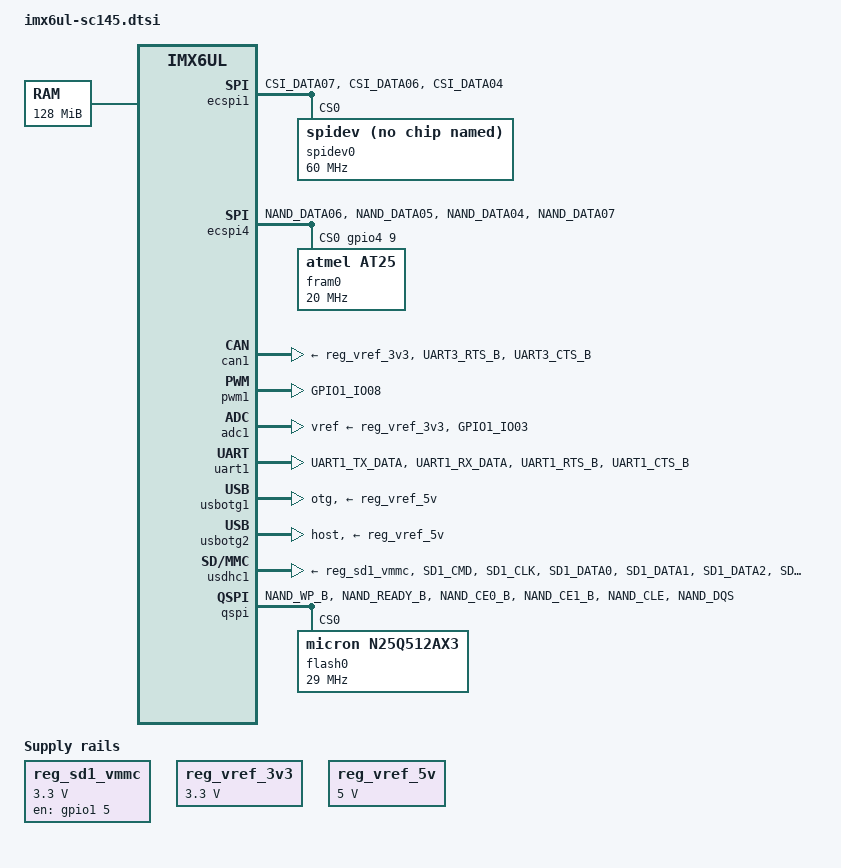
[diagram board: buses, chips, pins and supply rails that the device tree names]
/*
 * Copyright (C) 2015 Freescale Semiconductor, Inc.
 * Copyright (C) 2016 Beck IPC GmbH
 * Copyright (C) 2017 Kernel Concepts GmbH
 *
 * This program is free software; you can redistribute it and/or modify
 * it under the terms of the GNU General Public License version 2 as
 * published by the Free Software Foundation.
 */

#include <dt-bindings/gpio/gpio.h>
#include <dt-bindings/interrupt-controller/irq.h>
#include <dt-bindings/pwm/pwm.h>

/ {
    memory {
        reg = <0x80000000 0x8000000>;
    };

    regulators {
        compatible = "simple-bus";
        #address-cells = <1>;
        #size-cells = <0>;

        reg_sd1_vmmc: regulator@1 {
            compatible = "regulator-fixed";
            regulator-name = "VSD_3V3";
            regulator-min-microvolt = <3300000>;
            regulator-max-microvolt = <3300000>;
            gpio = <&gpio1 5 GPIO_ACTIVE_HIGH>;
            enable-active-high;
        };

        reg_vref_3v3: regulator@2 {
            compatible = "regulator-fixed";
            regulator-name = "vref-3v3";
            regulator-min-microvolt = <3300000>;
            regulator-max-microvolt = <3300000>;
        };

        reg_vref_5v: regulator@3 {
            compatible = "regulator-fixed";
            regulator-name = "vref-5v";
            regulator-min-microvolt = <5000000>;
            regulator-max-microvolt = <5000000>;
        };
    };
};

&cpu0 {
    arm-supply = <&reg_arm>;
    soc-supply = <&reg_soc>;
};

&clks {
    assigned-clocks = <&clks IMX6UL_CLK_PLL4_AUDIO_DIV>;
    assigned-clock-rates = <786432000>;
};

&wdog1 {
    fsl,ext-reset-output = <1>;
};

&ecspi1 {
    fsl,spi-num-chipselects = <1>;
    cs-gpios = <0>;
    pinctrl-names = "default";
    pinctrl-0 = <&pinctrl_ecspi1>;
    status = "okay";

    spidev0: spidev@0 {
        compatible = "spidev";
        reg = <0>;
        spi-max-frequency = <60000000>;
    };
};

&ecspi2 {
    fsl,spi-num-chipselects = <1>;
    cs-gpios = <0>;
    pinctrl-names = "default";
    pinctrl-0 = <&pinctrl_ecspi2>;
    status = "disabled";

    spidev1: spidev@1 {
        compatible = "spidev";
        spi-max-frequency = <0>;
        reg = <0>;
    };
};

&ecspi3 {
    fsl,spi-num-chipselects = <1>;
    cs-gpios = <0>;
    pinctrl-names = "default";
    pinctrl-0 = <&pinctrl_ecspi3>;
    status = "disabled";

    spidev2: spidev@2 {
                compatible = "spidev";
                spi-max-frequency = <0>;
                reg = <0>;
            };
};

&ecspi4 {
    fsl,spi-num-chipselects = <1>;
    cs-gpios = <&gpio4 9 GPIO_ACTIVE_HIGH>;
    pinctrl-names = "default";
    pinctrl-0 = <&pinctrl_ecspi4>;
    status = "okay";

    fram0: fram@0 {
        compatible = "atmel,at25", "cypress,fm25cl64b";
        spi-max-frequency = <20000000>;
        reg = <0>;
        pagesize = <8192>;
        size = <8192>;
        address-width = <16>;
    };
};

&can1 {
    pinctrl-names = "default";
    pinctrl-0 = <&pinctrl_flexcan1>;
    xceiver-supply = <&reg_vref_3v3>;
    status = "okay";
};

&can2 {
    pinctrl-names = "default";
    pinctrl-0 = <&pinctrl_flexcan2>;
    xceiver-supply = <&reg_vref_3v3>;
    status = "disabled";
};

&gpc {
    fsl,cpu_pupscr_sw2iso = <0x1>;
    fsl,cpu_pupscr_sw = <0x0>;
    fsl,cpu_pdnscr_iso2sw = <0x1>;
    fsl,cpu_pdnscr_iso = <0x1>;
    fsl,wdog-reset = <1>; /* watchdog select of reset source */
    fsl,ldo-bypass = <0>; /* DCDC, ldo-enable */
};

&pwm1 {
    pinctrl-names = "default";
    pinctrl-0 = <&pinctrl_pwm1>;
    bus-no = <0>;
    status = "okay";
};

&pwm5 {
    pinctrl-names = "default";
    pinctrl-0 = <&pinctrl_pwm5>;
    bus-no = <4>;
    status = "disabled";
};

&pwm7 {
    pinctrl-names = "default";
    pinctrl-0 = <&pinctrl_pwm7>;
    bus-no = <6>;
    status = "disabled";
};

&pwm8 {
    pinctrl-names = "default";
    pinctrl-0 = <&pinctrl_pwm8>;
    bus-no = <7>;
    status = "disabled";
};

&adc1 {
    pinctrl-names = "default";
    pinctrl-0 = <&pinctrl_adc1>;
    vref-supply = <&reg_vref_3v3>;
    num-channels = <10>;
    status = "okay";
};

&uart1 {
    pinctrl-names = "default";
    pinctrl-0 = <&pinctrl_uart1>;
    fsl,uart-has-rtscts;
    status = "okay";
};

&uart2 {
    pinctrl-names = "default";
    pinctrl-0 = <&pinctrl_uart2>;
    status = "disabled";
};

&uart3 {
    pinctrl-names = "default";
    pinctrl-0 = <&pinctrl_uart3>;
    fsl,uart-has-rtscts;
    status = "disabled";
};

&uart4 {
    pinctrl-names = "default";
    pinctrl-0 = <&pinctrl_uart4>;
    status = "disabled";
};

&uart5 {
    pinctrl-names = "default";
    pinctrl-0 = <&pinctrl_uart5>;
    fsl,uart-has-rtscts;
    status = "disabled";
};

&uart6 {
    pinctrl-names = "default";
    pinctrl-0 = <&pinctrl_uart6>;
    fsl,uart-has-rtscts;
    status = "disabled";
};

&usbotg1 {
    vbus-supply = <&reg_vref_5v>;
    dr_mode = "otg";
    srp-disable;
    hnp-disable;
    adp-disable;
    disable-over-current;
    status = "okay";
};

&usbotg2 {
    vbus-supply = <&reg_vref_5v>;
    dr_mode = "host";
    disable-over-current;
    status = "okay";
};

&usdhc1 {
    pinctrl-names = "default", "state_100mhz", "state_200mhz";
    pinctrl-0 = <&pinctrl_usdhc1_default>;
    pinctrl-1 = <&pinctrl_usdhc1_100mhz>;
    pinctrl-2 = <&pinctrl_usdhc1_200mhz>;
    cd-gpios = <&gpio4 26 GPIO_ACTIVE_LOW>;
    wp-gpios = <&gpio1 2 GPIO_ACTIVE_HIGH>;
    keep-power-in-suspend;
    wakeup-source;
    vmmc-supply = <&reg_sd1_vmmc>;
    no-1-8-v;
    status = "okay";
};

&usdhc2 {
    pinctrl-names = "default";
    pinctrl-0 = <&pinctrl_usdhc2_default>;
    no-1-8-v;
    non-removable;
    keep-power-in-suspend;
    wakeup-source;
    status = "disabled";
};

&i2c1 {
    pinctrl-names = "default";
    pinctrl-0 = <&pinctrl_i2c1>;
    sda-gpios = <&gpio4 17 GPIO_ACTIVE_HIGH>;
    scl-gpios = <&gpio4 18 GPIO_ACTIVE_HIGH>;
    status = "disabled";
};

&i2c2 {
    pinctrl-names = "default";
    pinctrl-0 = <&pinctrl_i2c2>;
    sda-gpios = <&gpio4 19 GPIO_ACTIVE_HIGH>;
    scl-gpios = <&gpio4 20 GPIO_ACTIVE_HIGH>;
    status = "disabled";
};

&i2c4 {
    pinctrl-names = "default";
    pinctrl-0 = <&pinctrl_i2c4>;
    sda-gpios = <&gpio1 21 GPIO_ACTIVE_HIGH>;
    scl-gpios = <&gpio1 20 GPIO_ACTIVE_HIGH>;
    status = "disabled";
};

&qspi {
    pinctrl-names = "default";
    pinctrl-0 = <&pinctrl_qspi>;
    status = "okay";
    ddrsmp=<0>;

    flash0: n25q512ax3@0 {
        #address-cells = <1>;
        #size-cells = <1>;
        compatible = "micron,n25q512ax3";
        spi-max-frequency = <29000000>;
        spi-nor,ddr-quad-read-dummy = <6>;
        reg = <0>;
    };
};

&iomuxc {
    pinctrl-names = "default";
    pinctrl-0 = <&pinctrl_hog>;

    pinctrl_hog: hoggrp {
        fsl,pins = <
            MX6UL_PAD_SNVS_TAMPER8__GPIO5_IO08      0x130a0 /* PFAIL_IN */
            MX6UL_PAD_GPIO1_IO09__WDOG1_WDOG_ANY    0x008b0 /* Watchdog Reset */
        >;
    };

    /* ETH0 */
    pinctrl_enet1: enet1grp {
        fsl,pins = <
            MX6UL_PAD_ENET1_RX_EN__ENET1_RX_EN      0x1b0b0
            MX6UL_PAD_ENET1_RX_ER__ENET1_RX_ER      0x1b0b0
            MX6UL_PAD_ENET1_RX_DATA0__ENET1_RDATA00 0x1b0b0
            MX6UL_PAD_ENET1_RX_DATA1__ENET1_RDATA01 0x1b0b0
            MX6UL_PAD_ENET1_TX_EN__ENET1_TX_EN      0x1b0b0
            MX6UL_PAD_ENET1_TX_DATA0__ENET1_TDATA00 0x1b0b0
            MX6UL_PAD_ENET1_TX_DATA1__ENET1_TDATA01 0x1b0b0
            MX6UL_PAD_ENET1_TX_CLK__ENET1_REF_CLK1  0x4001b031
        >;
    };

    /* ETH1 */
    pinctrl_enet2: enet2grp {
        fsl,pins = <
            MX6UL_PAD_GPIO1_IO07__ENET2_MDC         0x1b0b0
            MX6UL_PAD_GPIO1_IO06__ENET2_MDIO        0x1b0b0
            MX6UL_PAD_ENET2_RX_EN__ENET2_RX_EN      0x1b0b0
            MX6UL_PAD_ENET2_RX_ER__ENET2_RX_ER      0x1b0b0
            MX6UL_PAD_ENET2_RX_DATA0__ENET2_RDATA00 0x1b0b0
            MX6UL_PAD_ENET2_RX_DATA1__ENET2_RDATA01 0x1b0b0
            MX6UL_PAD_ENET2_TX_EN__ENET2_TX_EN      0x1b0b0
            MX6UL_PAD_ENET2_TX_DATA0__ENET2_TDATA00 0x1b0b0
            MX6UL_PAD_ENET2_TX_DATA1__ENET2_TDATA01 0x1b0b0
            MX6UL_PAD_ENET2_TX_CLK__ENET2_REF_CLK2  0x4001b031
        >;
    };

    /* SPI1 */
    pinctrl_ecspi1: ecspi1grp {
        fsl,pins = <
            MX6UL_PAD_CSI_DATA07__ECSPI1_MISO    0x1b020
            MX6UL_PAD_CSI_DATA06__ECSPI1_MOSI    0x1b020
            MX6UL_PAD_CSI_DATA04__ECSPI1_SCLK    0x1b020
        >;
    };

    /* SPI2 */
    pinctrl_ecspi2: ecspi2grp {
        fsl,pins = <
            MX6UL_PAD_CSI_DATA03__ECSPI2_MISO    0x1b020
            MX6UL_PAD_CSI_DATA02__ECSPI2_MOSI    0x1b020
            MX6UL_PAD_CSI_DATA00__ECSPI2_SCLK    0x1b020
        >;
    };

    /* SPI3 */
    pinctrl_ecspi3: ecspi3grp {
        fsl,pins = <
            MX6UL_PAD_UART2_RTS_B__ECSPI3_MISO   0x1b020
            MX6UL_PAD_UART2_CTS_B__ECSPI3_MOSI   0x1b020
            MX6UL_PAD_UART2_RX_DATA__ECSPI3_SCLK 0x1b020
        >;
    };

    /* SPI4 */
    pinctrl_ecspi4: ecspi4grp {
        fsl,pins = <
            MX6UL_PAD_NAND_DATA06__ECSPI4_MISO   0x1b020
            MX6UL_PAD_NAND_DATA05__ECSPI4_MOSI   0x1b020
            MX6UL_PAD_NAND_DATA04__ECSPI4_SCLK   0x1b020
            MX6UL_PAD_NAND_DATA07__GPIO4_IO09    0x1b020
        >;
    };

    /* CAN1 */
    pinctrl_flexcan1: flexcan1grp {
        fsl,pins = <
            MX6UL_PAD_UART3_RTS_B__FLEXCAN1_RX   0x1b020
            MX6UL_PAD_UART3_CTS_B__FLEXCAN1_TX   0x1b020
        >;
    };

    /* CAN2 */
    pinctrl_flexcan2: flexcan2grp {
        fsl,pins = <
            MX6UL_PAD_UART2_RTS_B__FLEXCAN2_RX   0x1b020
            MX6UL_PAD_UART2_CTS_B__FLEXCAN2_TX   0x1b020
        >;
    };

    /* PWM1 */
    pinctrl_pwm1_default: pwm1grp_default {
        fsl,pins = <>;
    };

    pinctrl_pwm1: pwm1grp {
        fsl,pins = <
            MX6UL_PAD_GPIO1_IO08__PWM1_OUT       0x110b0
        >;
    };

    /* PWM5 */
    pinctrl_pwm5: pwm5grp {
        fsl,pins = <
            MX6UL_PAD_LCD_DATA18__PWM5_OUT       0x110b0
        >;
    };

    /* PWM7 */
    pinctrl_pwm7: pwm7grp {
        fsl,pins = <
            MX6UL_PAD_CSI_VSYNC__PWM7_OUT        0x110b0
        >;
    };

    /* PWM8 */
    pinctrl_pwm8: pwm8grp {
        fsl,pins = <
            MX6UL_PAD_CSI_HSYNC__PWM8_OUT        0x110b0
        >;
    };

    /* ADC1: AIN3 */
    pinctrl_adc1: adc1grp {
        fsl,pins = <
            MX6UL_PAD_GPIO1_IO03__GPIO1_IO03     0xb0
        >;
    };

    /* UART1 */
    pinctrl_uart1: uart1grp {
        fsl,pins = <
            MX6UL_PAD_UART1_TX_DATA__UART1_DCE_TX   0x1b0b1
            MX6UL_PAD_UART1_RX_DATA__UART1_DCE_RX   0x1b0b1
            MX6UL_PAD_UART1_RTS_B__UART1_DCE_RTS    0x1b0b1
            MX6UL_PAD_UART1_CTS_B__UART1_DCE_CTS    0x1b0b1
        >;
    };

    /* UART2 */
    pinctrl_uart2: uart2grp {
        fsl,pins = <
            MX6UL_PAD_UART2_TX_DATA__UART2_DCE_TX   0x1b0b1
            MX6UL_PAD_UART2_RX_DATA__UART2_DCE_RX   0x1b0b1
        >;
    };

    /* UART3 */
    pinctrl_uart3: uart3grp {
        fsl,pins = <
            MX6UL_PAD_UART3_TX_DATA__UART3_DCE_TX   0x1b0b1
            MX6UL_PAD_UART3_RX_DATA__UART3_DCE_RX   0x1b0b1
            MX6UL_PAD_UART3_RTS_B__UART3_DCE_RTS    0x1b0b1
            MX6UL_PAD_UART3_CTS_B__UART3_DCE_CTS    0x1b0b1
        >;
    };

    /* UART4 */
    pinctrl_uart4: uart4grp {
        fsl,pins = <
            MX6UL_PAD_UART4_TX_DATA__UART4_DCE_TX   0x1b0b1
            MX6UL_PAD_UART4_RX_DATA__UART4_DCE_RX   0x1b0b1
        >;
    };

    /* UART5 */
    pinctrl_uart5: uart5grp {
        fsl,pins = <
            MX6UL_PAD_CSI_DATA00__UART5_DCE_TX      0x1b0b1
            MX6UL_PAD_CSI_DATA01__UART5_DCE_RX      0x1b0b1
            MX6UL_PAD_CSI_DATA02__UART5_DCE_RTS     0x1b0b1
            MX6UL_PAD_CSI_DATA03__UART5_DCE_CTS     0x1b0b1
        >;
    };

    /* UART6 */
    pinctrl_uart6: uart6grp {
        fsl,pins = <
            MX6UL_PAD_CSI_MCLK__UART6_DCE_TX        0x1b0b1
            MX6UL_PAD_CSI_PIXCLK__UART6_DCE_RX      0x1b0b1
            MX6UL_PAD_CSI_VSYNC__UART6_DCE_RTS      0x1b0b1
            MX6UL_PAD_CSI_HSYNC__UART6_DCE_CTS      0x1b0b1
        >;
    };

    /* SDIO1 / SDHC card */
    pinctrl_usdhc1_default: usdhc1grp_default {
        fsl,pins = <
            MX6UL_PAD_SD1_CMD__USDHC1_CMD           0x17059
            MX6UL_PAD_SD1_CLK__USDHC1_CLK           0x10071
            MX6UL_PAD_SD1_DATA0__USDHC1_DATA0       0x17059
            MX6UL_PAD_SD1_DATA1__USDHC1_DATA1       0x17059
            MX6UL_PAD_SD1_DATA2__USDHC1_DATA2       0x17059
            MX6UL_PAD_SD1_DATA3__USDHC1_DATA3       0x17059
            MX6UL_PAD_CSI_DATA05__GPIO4_IO26        0x17059 /* SD1 CD */
            MX6UL_PAD_GPIO1_IO05__USDHC1_VSELECT    0x17059 /* SD1 VSELECT */
            MX6UL_PAD_GPIO1_IO02__GPIO1_IO02        0x13059 /* SD1 WP */
        >;
    };

    pinctrl_usdhc1_100mhz: usdhc1grp100mhz {
        fsl,pins = <
            MX6UL_PAD_SD1_CMD__USDHC1_CMD           0x170b9
            MX6UL_PAD_SD1_CLK__USDHC1_CLK           0x100b9
            MX6UL_PAD_SD1_DATA0__USDHC1_DATA0       0x170b9
            MX6UL_PAD_SD1_DATA1__USDHC1_DATA1       0x170b9
            MX6UL_PAD_SD1_DATA2__USDHC1_DATA2       0x170b9
            MX6UL_PAD_SD1_DATA3__USDHC1_DATA3       0x170b9
            MX6UL_PAD_CSI_DATA05__GPIO4_IO26        0x17059 /* SD1 CD */
            MX6UL_PAD_GPIO1_IO05__USDHC1_VSELECT    0x17059 /* SD1 VSELECT */
            MX6UL_PAD_GPIO1_IO02__GPIO1_IO02        0x13059 /* SD1 WP */
        >;
    };

    pinctrl_usdhc1_200mhz: usdhc1grp200mhz {
        fsl,pins = <
            MX6UL_PAD_SD1_CMD__USDHC1_CMD           0x170f9
            MX6UL_PAD_SD1_CLK__USDHC1_CLK           0x100f9
            MX6UL_PAD_SD1_DATA0__USDHC1_DATA0       0x170f9
            MX6UL_PAD_SD1_DATA1__USDHC1_DATA1       0x170f9
            MX6UL_PAD_SD1_DATA2__USDHC1_DATA2       0x170f9
            MX6UL_PAD_SD1_DATA3__USDHC1_DATA3       0x170f9
            MX6UL_PAD_CSI_DATA05__GPIO4_IO26        0x17059 /* SD1 CD */
            MX6UL_PAD_GPIO1_IO05__USDHC1_VSELECT    0x17059 /* SD1 VSELECT */
            MX6UL_PAD_GPIO1_IO02__GPIO1_IO02        0x13059 /* SD1 WP */
        >;
    };

    /* SDIO2 / WLAN etc. */
    pinctrl_usdhc2_default: usdhc2grp_default {
        fsl,pins = <
            MX6UL_PAD_NAND_RE_B__USDHC2_CLK     0x10069
            MX6UL_PAD_NAND_WE_B__USDHC2_CMD     0x17059
            MX6UL_PAD_NAND_DATA00__USDHC2_DATA0 0x17059
            MX6UL_PAD_NAND_DATA01__USDHC2_DATA1 0x17059
            MX6UL_PAD_NAND_DATA02__USDHC2_DATA2 0x17059
            MX6UL_PAD_NAND_DATA03__USDHC2_DATA3 0x17059
            MX6UL_PAD_NAND_ALE__USDHC2_RESET_B  0x17059
        >;
    };

    /* I2C1 */
    pinctrl_i2c1: i2c1grp {
        fsl,pins = <
            MX6UL_PAD_CSI_PIXCLK__I2C1_SCL    0x4001b8b0
            MX6UL_PAD_CSI_MCLK__I2C1_SDA      0x4001b8b0
        >;
    };


    /* I2C2 */
    pinctrl_i2c2: i2c2grp {
        fsl,pins = <
            MX6UL_PAD_CSI_HSYNC__I2C2_SCL     0x4001b8b0
            MX6UL_PAD_CSI_VSYNC__I2C2_SDA     0x4001b8b0
        >;
    };

    /* I2C4 */
    pinctrl_i2c4: i2c4grp {
        fsl,pins = <
            MX6UL_PAD_UART2_TX_DATA__I2C4_SCL 0x4001b8b0
            MX6UL_PAD_UART2_RX_DATA__I2C4_SDA 0x4001b8b0
        >;
    };

    /* QSPI */
    pinctrl_qspi: qspigrp {
        fsl,pins = <
            MX6UL_PAD_NAND_WP_B__QSPI_A_SCLK      0x70a1
            MX6UL_PAD_NAND_READY_B__QSPI_A_DATA00 0x70a1
            MX6UL_PAD_NAND_CE0_B__QSPI_A_DATA01   0x70a1
            MX6UL_PAD_NAND_CE1_B__QSPI_A_DATA02   0x70a1
            MX6UL_PAD_NAND_CLE__QSPI_A_DATA03     0x70a1
            MX6UL_PAD_NAND_DQS__QSPI_A_SS0_B      0x70a1
        >;
    };
	pinctrl_lcd: lcdgrp {
		fsl,pins = <
			MX6UL_PAD_LCD_CLK__LCDIF_CLK		0x10 /* LSCLK */
			MX6UL_PAD_LCD_ENABLE__LCDIF_ENABLE	0x10 /* OE_ACD */
			MX6UL_PAD_LCD_HSYNC__LCDIF_HSYNC	0x10 /* HSYNC */
			MX6UL_PAD_LCD_VSYNC__LCDIF_VSYNC	0x10 /* VSYNC */
			MX6UL_PAD_LCD_DATA00__LCDIF_DATA00	0x10
			MX6UL_PAD_LCD_DATA01__LCDIF_DATA01	0x10
			MX6UL_PAD_LCD_DATA02__LCDIF_DATA02	0x10
			MX6UL_PAD_LCD_DATA03__LCDIF_DATA03	0x10
			MX6UL_PAD_LCD_DATA04__LCDIF_DATA04	0x10
			MX6UL_PAD_LCD_DATA05__LCDIF_DATA05	0x10
			MX6UL_PAD_LCD_DATA06__LCDIF_DATA06	0x10
			MX6UL_PAD_LCD_DATA07__LCDIF_DATA07	0x10
			MX6UL_PAD_LCD_DATA08__LCDIF_DATA08	0x10
			MX6UL_PAD_LCD_DATA09__LCDIF_DATA09	0x10
			MX6UL_PAD_LCD_DATA10__LCDIF_DATA10	0x10
			MX6UL_PAD_LCD_DATA11__LCDIF_DATA11	0x10
			MX6UL_PAD_LCD_DATA12__LCDIF_DATA12	0x10
			MX6UL_PAD_LCD_DATA13__LCDIF_DATA13	0x10
			MX6UL_PAD_LCD_DATA14__LCDIF_DATA14	0x10
			MX6UL_PAD_LCD_DATA15__LCDIF_DATA15	0x10
			MX6UL_PAD_LCD_DATA16__LCDIF_DATA16	0x10
			MX6UL_PAD_LCD_DATA17__LCDIF_DATA17	0x10
			MX6UL_PAD_LCD_DATA18__LCDIF_DATA18	0x10
			MX6UL_PAD_LCD_DATA19__LCDIF_DATA19	0x10
			MX6UL_PAD_LCD_DATA20__LCDIF_DATA20	0x10
			MX6UL_PAD_LCD_DATA21__LCDIF_DATA21	0x10
			MX6UL_PAD_LCD_DATA22__LCDIF_DATA22	0x10
			MX6UL_PAD_LCD_DATA23__LCDIF_DATA23	0x10
		>;
	};
	/*AD7879 on FB150-GA01*/
	pinctrl_touch: touchgrp {
		fsl,pins = <
			MX6UL_PAD_UART3_RX_DATA__GPIO1_IO25 0x130a0 /* INTERRUPT */
			/* MX6UL_PAD_UART3_TX_DATA__GPIO1_IO24 0x1b020 */ /* potential RESET */
		>;
	};
};
